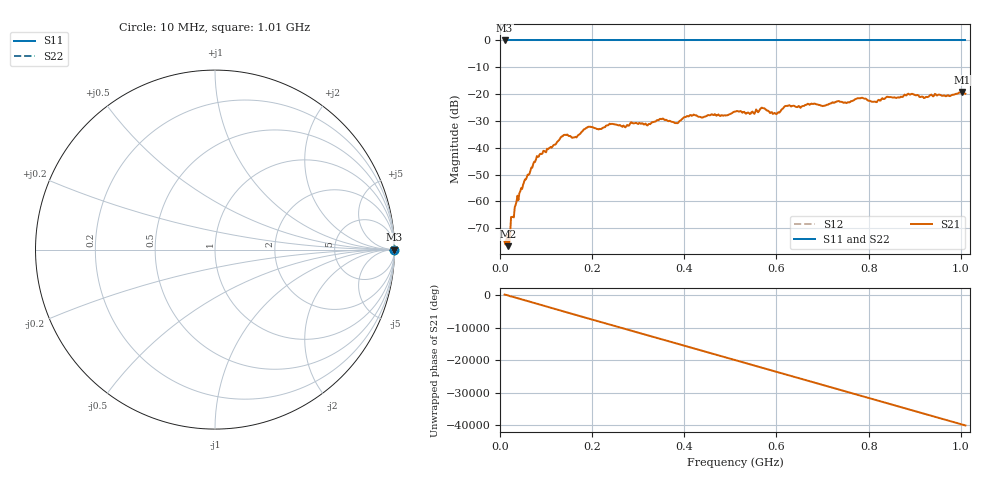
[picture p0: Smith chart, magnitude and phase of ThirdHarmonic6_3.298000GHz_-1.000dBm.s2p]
! 8/17/2025 10:16:35 AM
! C:\ANRITSUVNA\TEMP\TEMP.S2P
! CHANNEL.1
! TR.MEASUREMENT
! RAW.DATA
! RF.CORRECTION.OFF
! AVERAGING.OFF
! IF.BANDWIDTH: 5KHZ
! SWEEPTYPE:  FREQ.SWEEP(Linear)
! Reference Plane Port Info
! PORT:  PORT1  PORT2
! DISTANCE:  0  m  0  m
! TIME:  0  s  0  s
! PHASE.OFFSET:  0  deg.  0  deg.
! LOSS:  0  dB  0  dB
! REF.LOSS:  0  dB  0  dB
! REF.FREQ:  0  Hz  0  Hz
! Power Info
! POWER:  -20  dBm  -20  dBm
! EFF.POWER:  -20  dBm  -20  dBm
! SOURCE.ATTEN:  0  dB  0  dB
! TEST.ATTEN:  0  dB  0  dB
# GHZ S RI R 50.0
! FREQ.GHZ  S11RE  S11IM  S21RE  S21IM  S12RE  S12IM  S22RE  S22IM
!; PortSelection: Port_12
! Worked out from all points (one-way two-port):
!   501 points, 10 MHz to 1.01 GHz, reference 50 ohm
!   highest |S21| = -19.23 dB at 1.002 GHz (marker M1); lowest = -76.7 dB at 18 MHz (marker M2)
!   lowest |S11| = 0.0 dB at 10 MHz (marker M3)
!   |S11| at or under -10 dB: nowhere
!   |S22| runs from 0.0 to 0.0 dB; largest |S21 - S12| = 1.1
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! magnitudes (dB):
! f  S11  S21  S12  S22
! 10 MHz  0.0  -75.0  0.0  0.0
! 18 MHz  0.0  -76.7  0.0  0.0
! 28 MHz  0.0  -65.7  0.0  0.0
! 40 MHz  0.0  -59.5  0.0  0.0
! 78 MHz  0.0  -44.4  0.0  0.0
! 136 MHz  0.0  -35.7  0.0  0.0
! 162 MHz  0.0  -36.1  0.0  0.0
! 178 MHz  0.0  -34.0  0.0  0.0
! 192 MHz  0.0  -32.1  0.0  0.0
! 344 MHz  0.0  -29.7  0.0  0.0
! 384 MHz  0.0  -30.8  0.0  0.0
! 416 MHz  0.0  -28.1  0.0  0.0
! 510 MHz  0.0  -26.5  0.0  0.0
! 570 MHz  0.0  -25.2  0.0  0.0
! 596 MHz  0.0  -27.0  0.0  0.0
! 622 MHz  0.0  -24.4  0.0  0.0
! 678 MHz  0.0  -23.6  0.0  0.0
! 782 MHz  0.0  -21.5  0.0  0.0
! 814 MHz  0.0  -22.8  0.0  0.0
! 844 MHz  0.0  -21.1  0.0  0.0
! 1.002 GHz  0.0  -19.2  0.0  0.0
! 1.01 GHz  0.0  -19.8  0.0  0.0
